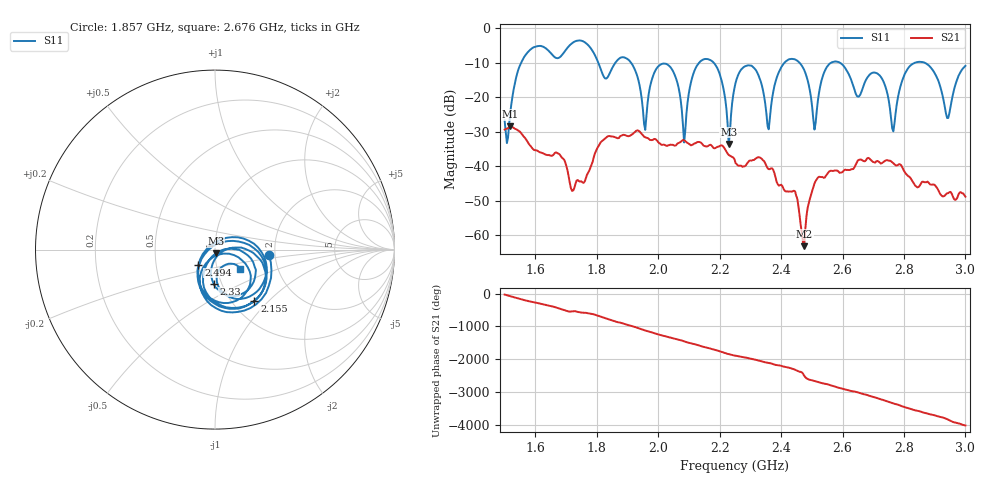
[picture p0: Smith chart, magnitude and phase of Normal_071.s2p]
# HZ S RI R 50
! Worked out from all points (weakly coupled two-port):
!   404 points, 1.5 GHz to 3 GHz, reference 50 ohm
!   highest |S21| = -28.39 dB at 1.519 GHz (marker M1); lowest = -63.2 dB at 2.475 GHz (marker M2)
!   lowest |S11| = -33.5 dB at 2.23 GHz (marker M3), VSWR 1.04, Z = 50.4 - j2.07 ohm
!   |S11| at or under -10 dB: 1.912 GHz to 2.133 GHz (221.2 MHz wide, 10.9 % of centre); 2.181 GHz to 2.411 GHz (229.6 MHz wide, 10 % of centre); 2.592 GHz to 2.835 GHz (243.2 MHz wide, 8.96 % of centre) (the widest 3 of 7)
!   S12 and S22 are empty: the file has one direction only
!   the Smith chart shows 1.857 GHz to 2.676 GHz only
!   S11 on the Smith chart (normalised r, x): 1.857 GHz: 1.86, -0.12; 2.155 GHz: 1.26, -0.83; 2.33 GHz: 0.92, -0.36; 2.494 GHz: 0.82, -0.14; 2.676 GHz: 1.29, -0.29
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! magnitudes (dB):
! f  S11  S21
! 1.5 GHz  -26.7  -29.3
! 1.519 GHz  -24.3  -28.4
! 1.578 GHz  -6.6  -33.4
! 1.753 GHz  -3.7  -44.6
! 1.857 GHz  -10.4  -31.5
! 1.958 GHz  -29.4  -31.6
! 2.002 GHz  -10.8  -33.2
! 2.084 GHz  -33.1  -32.5
! 2.155 GHz  -8.9  -34.2
! 2.23 GHz  -33.5  -36.7
! 2.252 GHz  -15.8  -39.1
! 2.33 GHz  -14.4  -37.4
! 2.36 GHz  -29.3  -40.8
! 2.475 GHz  -12.0  -63.2
! 2.494 GHz  -18.1  -49.4
! 2.501 GHz  -22.8  -47.1
! 2.565 GHz  -9.9  -41.3
! 2.676 GHz  -15.0  -38.3
! 2.751 GHz  -21.0  -38.4
! 2.859 GHz  -9.7  -44.5
! 2.944 GHz  -26.0  -47.8
! 3 GHz  -10.9  -48.8
